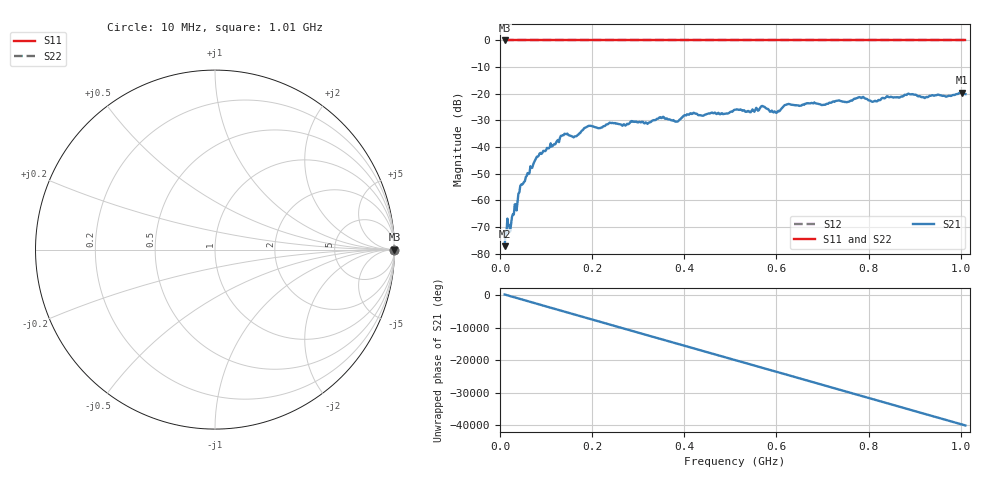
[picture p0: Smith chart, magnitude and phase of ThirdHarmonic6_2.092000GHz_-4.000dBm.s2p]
! 8/17/2025 1:02:06 AM
! C:\ANRITSUVNA\TEMP\TEMP.S2P
! CHANNEL.1
! TR.MEASUREMENT
! RAW.DATA
! RF.CORRECTION.OFF
! AVERAGING.OFF
! IF.BANDWIDTH: 5KHZ
! SWEEPTYPE:  FREQ.SWEEP(Linear)
! Reference Plane Port Info
! PORT:  PORT1  PORT2
! DISTANCE:  0  m  0  m
! TIME:  0  s  0  s
! PHASE.OFFSET:  0  deg.  0  deg.
! LOSS:  0  dB  0  dB
! REF.LOSS:  0  dB  0  dB
! REF.FREQ:  0  Hz  0  Hz
! Power Info
! POWER:  -20  dBm  -20  dBm
! EFF.POWER:  -20  dBm  -20  dBm
! SOURCE.ATTEN:  0  dB  0  dB
! TEST.ATTEN:  0  dB  0  dB
# GHZ S RI R 50.0
! FREQ.GHZ  S11RE  S11IM  S21RE  S21IM  S12RE  S12IM  S22RE  S22IM
!; PortSelection: Port_12
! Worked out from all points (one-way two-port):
!   501 points, 10 MHz to 1.01 GHz, reference 50 ohm
!   highest |S21| = -19.57 dB at 1.002 GHz (marker M1); lowest = -77.2 dB at 10 MHz (marker M2)
!   lowest |S11| = 0.0 dB at 10 MHz (marker M3)
!   |S11| at or under -10 dB: nowhere
!   |S22| runs from 0.0 to 0.0 dB; largest |S21 - S12| = 1.1
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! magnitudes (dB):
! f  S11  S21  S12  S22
! 10 MHz  0.0  -77.2  0.0  0.0
! 16 MHz  0.0  -66.9  0.0  0.0
! 26 MHz  0.0  -66.2  0.0  0.0
! 44 MHz  0.0  -54.6  0.0  0.0
! 82 MHz  0.0  -43.6  0.0  0.0
! 136 MHz  0.0  -35.5  0.0  0.0
! 162 MHz  0.0  -36.0  0.0  0.0
! 178 MHz  0.0  -33.8  0.0  0.0
! 194 MHz  0.0  -32.0  0.0  0.0
! 318 MHz  0.0  -30.9  0.0  0.0
! 344 MHz  0.0  -29.2  0.0  0.0
! 384 MHz  0.0  -30.5  0.0  0.0
! 416 MHz  0.0  -27.6  0.0  0.0
! 510 MHz  0.0  -26.0  0.0  0.0
! 540 MHz  0.0  -26.5  0.0  0.0
! 570 MHz  0.0  -24.6  0.0  0.0
! 598 MHz  0.0  -26.9  0.0  0.0
! 622 MHz  0.0  -24.1  0.0  0.0
! 678 MHz  0.0  -23.5  0.0  0.0
! 844 MHz  0.0  -21.3  0.0  0.0
! 1.002 GHz  0.0  -19.6  0.0  0.0
! 1.01 GHz  0.0  -20.1  0.0  0.0
